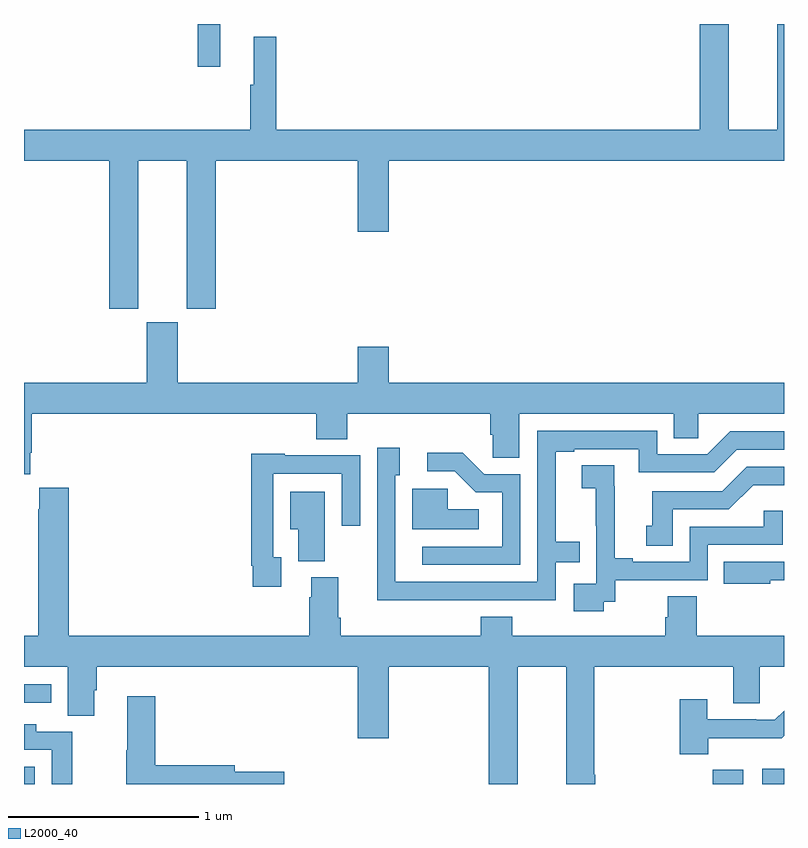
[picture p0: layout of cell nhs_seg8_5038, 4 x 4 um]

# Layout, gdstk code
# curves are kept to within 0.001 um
import gdstk
lib = gdstk.Library(unit=1e-6, precision=1e-09)
def R(c, l, rs):  # rectangles x0, y0, x1, y1
    for r in rs: c.add(gdstk.rectangle(r[:2], r[2:], *l))
def P(c, l, *ps):  # polygons
    for p in ps: c.add(gdstk.Polygon(p, *l))
L2000_40 = (2000, 40)

nhs_seg8_5038 = lib.new_cell('nhs_seg8_5038')
R(nhs_seg8_5038, L2000_40, [(415,1099.9,415.057,1099.99), (418.624,1099.9,418.786,1099.975), (418.886,1099.9,419,1099.981), (415,1100.328,415.144,1100.424), (415.915,1103.676,416.033,1103.9)])
P(nhs_seg8_5038, L2000_40, [(415.6,1103.18),(415.856,1103.18),(415.856,1102.401),(416.009,1102.401),(416.009,1103.18),(416.756,1103.18),(416.756,1102.806),(416.92,1102.806),(416.92,1103.18),(419,1103.18),(419,1103.9),(418.964,1103.9),(418.964,1103.344),(418.708,1103.344),(418.708,1103.9),(418.556,1103.9),(418.556,1103.344),(416.327,1103.344),(416.327,1103.833),(416.21,1103.833),(416.21,1103.58),(416.191,1103.58),(416.191,1103.344),(415,1103.344),(415,1103.18),(415.448,1103.18),(415.448,1102.401),(415.6,1102.401)],
  [(415.033,1101.643),(415.04,1101.643),(415.04,1101.848),(416.537,1101.848),(416.537,1101.715),(416.702,1101.715),(416.702,1101.848),(417.455,1101.848),(417.455,1101.739),(417.468,1101.739),(417.468,1101.616),(417.607,1101.616),(417.607,1101.848),(418.421,1101.848),(418.421,1101.721),(418.548,1101.721),(418.548,1101.848),(419,1101.848),(419,1102.012),(416.92,1102.012),(416.92,1102.201),(416.756,1102.201),(416.756,1102.012),(415.81,1102.012),(415.81,1102.329),(415.646,1102.329),(415.646,1102.012),(415,1102.012),(415,1101.531),(415.033,1101.531)],
  [(417.32,1100.868),(417.798,1100.868),(417.798,1101.066),(417.926,1101.066),(417.926,1101.175),(417.799,1101.175),(417.799,1101.648),(417.895,1101.648),(417.895,1101.663),(418.236,1101.663),(418.236,1101.54),(418.632,1101.54),(418.752,1101.66),(419,1101.66),(419,1101.756),(418.716,1101.756),(418.596,1101.636),(418.332,1101.636),(418.332,1101.759),(417.702,1101.759),(417.702,1100.964),(416.955,1100.964),(416.955,1101.525),(416.977,1101.525),(416.977,1101.67),(416.859,1101.67),(416.858,1100.867)],
  [(417.612,1101.531),(417.423,1101.531),(417.31,1101.644),(417.123,1101.644),(417.123,1101.546),(417.267,1101.546),(417.378,1101.435),(417.516,1101.435),(417.516,1101.15),(417.096,1101.15),(417.096,1101.054),(417.612,1101.054)],
  [(416.353,1101.093),(416.313,1101.093),(416.313,1101.534),(416.673,1101.534),(416.673,1101.258),(416.769,1101.258),(416.769,1101.63),(416.373,1101.63),(416.373,1101.637),(416.197,1101.637),(416.197,1101.049),(416.205,1101.049),(416.205,1100.937),(416.353,1100.937)],
  [(418.05,1100.859),(418.112,1100.859),(418.112,1100.973),(418.599,1100.973),(418.599,1101.159),(418.994,1101.159),(418.994,1101.337),(418.893,1101.337),(418.893,1101.255),(418.503,1101.255),(418.503,1101.069),(418.204,1101.069),(418.204,1101.089),(418.108,1101.089),(418.108,1101.467),(418.106,1101.467),(418.106,1101.578),(417.936,1101.578),(417.936,1101.457),(418.01,1101.457),(418.01,1101.259),(418.011,1101.259),(418.011,1100.955),(417.894,1100.955),(417.894,1100.808),(418.05,1100.808)],
  [(418.414,1101.345),(418.71,1101.345),(418.838,1101.473),(419,1101.473),(419,1101.57),(418.803,1101.57),(418.674,1101.441),(418.307,1101.441),(418.307,1101.258),(418.274,1101.258),(418.274,1101.154),(418.414,1101.154)],
  [(417.404,1100.779),(417.404,1100.68),(416.666,1100.68),(416.666,1100.776),(416.653,1100.776),(416.653,1100.988),(416.513,1100.988),(416.513,1100.882),(416.501,1100.882),(416.501,1100.68),(415.235,1100.68),(415.235,1101.46),(415.079,1101.46),(415.079,1101.347),(415.075,1101.347),(415.075,1100.68),(415,1100.68),(415,1100.516),(415.229,1100.516),(415.229,1100.26),(415.369,1100.26),(415.369,1100.394),(415.382,1100.394),(415.382,1100.516),(416.756,1100.516),(416.756,1100.142),(416.92,1100.142),(416.92,1100.516),(417.446,1100.516),(417.446,1099.9),(417.598,1099.9),(417.598,1100.516),(417.854,1100.516),(417.854,1099.9),(418.007,1099.9),(418.007,1099.949),(418.002,1099.949),(418.002,1100.516),(418.733,1100.516),(418.733,1100.326),(418.873,1100.326),(418.873,1100.516),(419,1100.516),(419,1100.68),(418.541,1100.68),(418.541,1100.888),(418.388,1100.888),(418.388,1100.778),(418.376,1100.778),(418.376,1100.68),(417.569,1100.68),(417.569,1100.779)],
  [(417.394,1101.346),(417.231,1101.346),(417.231,1101.453),(417.044,1101.453),(417.044,1101.242),(417.394,1101.242)],
  [(416.584,1101.439),(416.402,1101.439),(416.402,1101.242),(416.444,1101.242),(416.444,1101.073),(416.584,1101.073)],
  [(418.927,1100.973),(419,1100.973),(419,1101.069),(418.684,1101.069),(418.684,1100.954),(418.927,1100.954)],
  [(416.371,1099.964),(416.11,1099.964),(416.11,1100),(415.691,1100),(415.691,1100.362),(415.544,1100.362),(415.544,1100.077),(415.537,1100.077),(415.537,1099.9),(416.371,1099.9)],
  [(418.6,1100.142),(418.989,1100.142),(419,1100.153),(419,1100.286),(418.952,1100.238),(418.853,1100.238),(418.853,1100.241),(418.597,1100.241),(418.597,1100.347),(418.45,1100.347),(418.45,1100.057),(418.6,1100.057)],
  [(415.255,1100.175),(415.065,1100.175),(415.065,1100.215),(415,1100.215),(415,1100.079),(415.146,1100.079),(415.146,1099.9),(415.255,1099.9)])

lib.write_gds('nhs_seg8_5038.gds')
